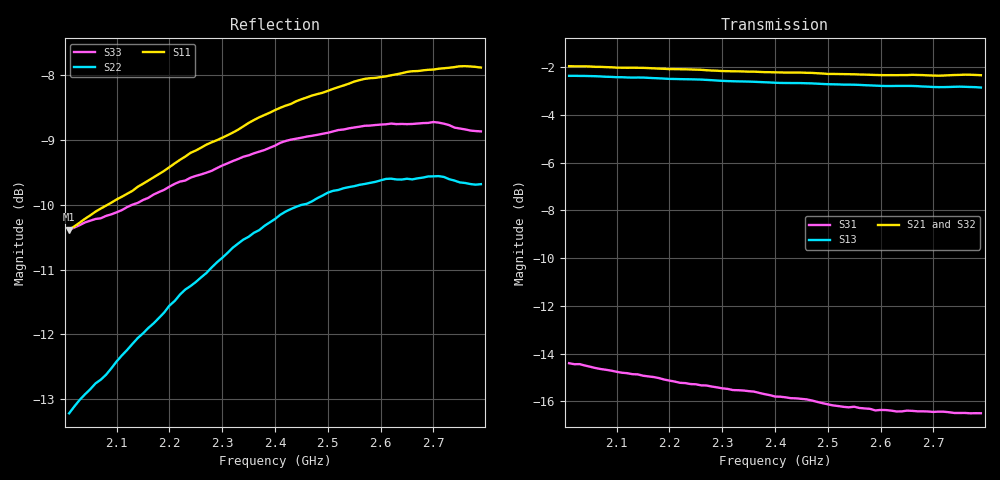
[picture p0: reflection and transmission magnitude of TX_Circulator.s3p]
# GHz S RI R 50
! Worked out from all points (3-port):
!   79 points, 2.01 GHz to 2.79 GHz, reference 50 ohm
!   strongest paths, dB at 2.01 GHz, 2.2 GHz, 2.4 GHz, 2.6 GHz, 2.79 GHz:
!     S21: -2.0, -2.1, -2.2, -2.3, -2.3
!     S32: -2.0, -2.1, -2.3, -2.4, -2.4
!     S13: -2.4, -2.5, -2.7, -2.8, -2.9
!     S31: -14.4, -15.1, -15.8, -16.4, -16.5
!   lowest |S11| = -10.4 dB at 2.01 GHz (marker M1), VSWR 1.87, Z = 54.9 + j32.9 ohm
!   |S11| at or under -10 dB: start of sweep to 2.082 GHz
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2.01  0.1322 0.2722  0.2513 -0.1266  0.1409 -0.7484
      -0.2722 0.7501  0.0174 0.2176  -0.2292 0.1043
      -0.1807 0.0605  0.3147 -0.7292  0.118 0.2784
2.11  0.139 0.2893  0.2052 -0.1798  0.0103 -0.7565
      -0.1691 0.7738  0.0195 0.2412  -0.1877 0.1588
      -0.152 0.1003  0.1864 -0.7667  0.1339 0.2833
2.21  0.1539 0.3037  0.1482 -0.2193  -0.1174 -0.7409
      -0.0636 0.7841  0.0316 0.2647  -0.1311 0.2016
      -0.1146 0.1316  0.0554 -0.7813  0.1575 0.2881
2.31  0.1734 0.3132  0.083 -0.2421  -0.2383 -0.7033
      0.0384 0.7781  0.054 0.2853  -0.0681 0.2249
      -0.0729 0.1518  -0.0722 -0.7731  0.1849 0.2859
2.4  0.196 0.3189  0.0233 -0.2474  -0.3376 -0.6548
     0.1267 0.7641  0.0793 0.2981  -0.00868 0.2325
     -0.0315 0.1592  -0.1825 -0.7485  0.2144 0.2784
2.48  0.2164 0.3185  -0.0295 -0.242  -0.4194 -0.6015
      0.2044 0.7437  0.1073 0.3015  0.0448 0.2242
      0.00576 0.1581  -0.2761 -0.7154  0.2398 0.2661
2.59  0.245 0.3116  -0.0951 -0.2162  -0.5156 -0.5118
      0.3013 0.703  0.1444 0.2961  0.1132 0.1989
      0.0513 0.1429  -0.3942 -0.6522  0.2743 0.2401
2.66  0.2624 0.3034  -0.133 -0.1921  -0.5694 -0.4493
      0.3614 0.6747  0.1669 0.2858  0.1509 0.1706
      0.079 0.1292  -0.4627 -0.6029  0.2939 0.2169
2.71  0.2734 0.296  -0.1566 -0.1702  -0.6006 -0.3994
      0.4004 0.6485  0.1832 0.2779  0.1799 0.1489
      0.097 0.1156  -0.5074 -0.5631  0.3066 0.2
2.79  0.2894 0.2816  -0.1877 -0.1308  -0.6473 -0.3151
      0.4675 0.6042  0.2027 0.258  0.2084 0.104
      0.1218 0.0871  -0.5748 -0.4936  0.3188 0.1682
